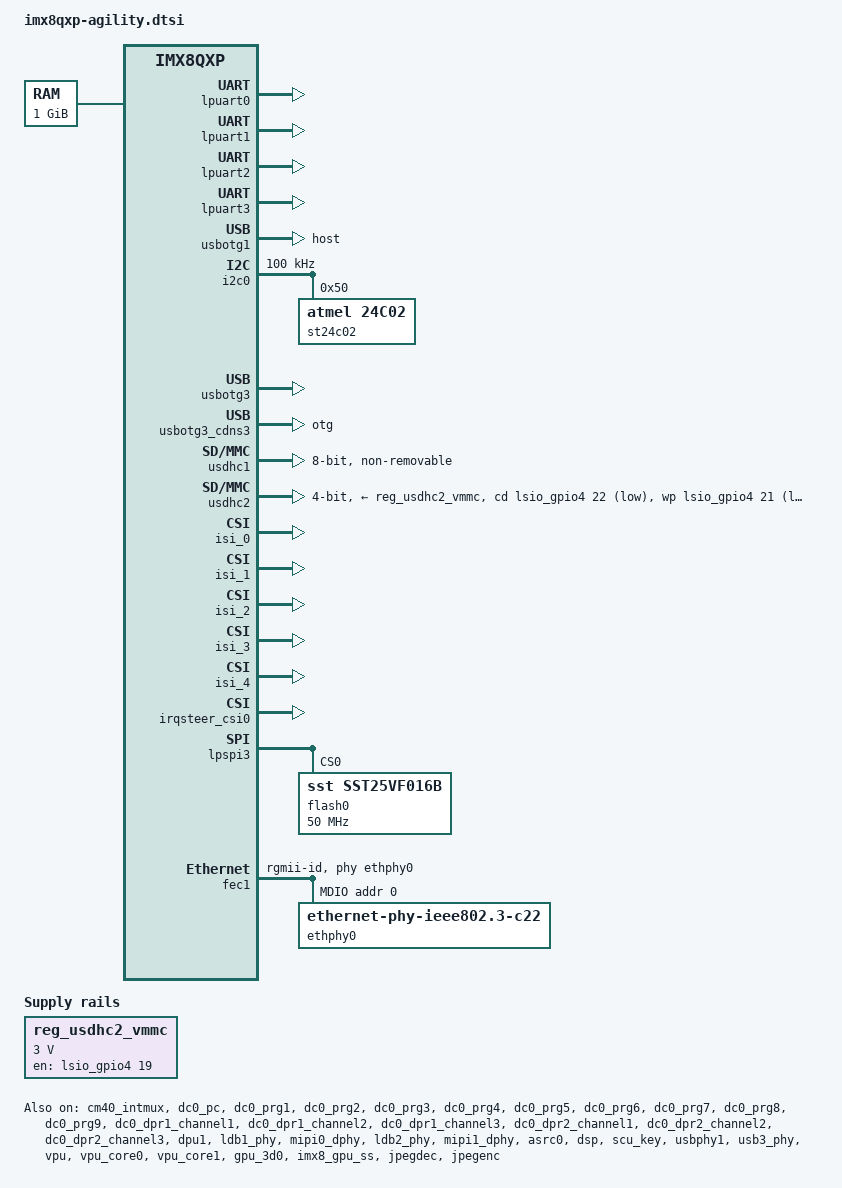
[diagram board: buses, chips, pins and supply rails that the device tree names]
// SPDX-License-Identifier: GPL-2.0+
/*
 * Copyright 2017-2020 NXP
 */

#include <dt-bindings/gpio/gpio.h>
#include <dt-bindings/usb/pd.h>
/ {
	chosen {
		stdout-path = &lpuart0;
	};

	memory@80000000 {
		device_type = "memory";
		reg = <0x00000000 0x80000000 0 0x40000000>;
	};

	reserved-memory {
		#address-cells = <2>;
		#size-cells = <2>;
		ranges;

		gpu_reserved: gpu_reserved@880000000 {
			no-map;
			reg = <0x8 0x80000000 0 0x10000000>;
		};

		decoder_boot: decoder-boot@84000000 {
			reg = <0 0x84000000 0 0x2000000>;
			no-map;
		};

		encoder_boot: encoder-boot@86000000 {
			reg = <0 0x86000000 0 0x200000>;
			no-map;
		};

		decoder_rpc: decoder-rpc@0x92000000 {
			reg = <0 0x92000000 0 0x100000>;
			no-map;
		};

		dsp_reserved: dsp@92400000 {
			reg = <0 0x92400000 0 0x1000000>;
			no-map;
		};
		dsp_reserved_heap: dsp_reserved_heap {
			reg = <0 0x93400000 0 0xef0000>;
			no-map;
		};
		dsp_vdev0vring0: vdev0vring0@942f0000 {
			reg = <0 0x942f0000 0 0x8000>;
			no-map;
		};

		dsp_vdev0vring1: vdev0vring1@942f8000 {
			reg = <0 0x942f8000 0 0x8000>;
			no-map;
		};

		dsp_vdev0buffer: vdev0buffer@94300000 {
			compatible = "shared-dma-pool";
			reg = <0 0x94300000 0 0x100000>;
			no-map;
		};

		encoder_rpc: encoder-rpc@0x94400000 {
			reg = <0 0x94400000 0 0x700000>;
			no-map;
		};
		/* global autoconfigured region for contiguous allocations */
		linux,cma {
			compatible = "shared-dma-pool";
			reusable;
			size = <0 0x3c000000>;
			alloc-ranges = <0 0xc0000000 0 0x3c000000>;
			linux,cma-default;
		};
	};

	reg_usdhc2_vmmc: usdhc2-vmmc {
		compatible = "regulator-fixed";
		regulator-name = "SD1_SPWR";
		regulator-min-microvolt = <3000000>;
		regulator-max-microvolt = <3000000>;
		gpio = <&lsio_gpio4 19 GPIO_ACTIVE_HIGH>;
		off-on-delay-us = <3480>;
		enable-active-high;
	};


	imx8x_cm4: imx8x_cm4@0 {
		compatible = "fsl,imx8qxp-cm4";
		rsc-da = <0x90000000>;
		mbox-names = "tx", "rx", "rxdb";
		mboxes = <&lsio_mu5 0 1
			  &lsio_mu5 1 1
			  &lsio_mu5 3 1>;
		mub-partition = <3>;
		memory-region = <&vdevbuffer>, <&vdev0vring0>, <&vdev0vring1>,
				<&vdev1vring0>, <&vdev1vring1>, <&rsc_table>;
		core-index = <0>;
		core-id = <IMX_SC_R_M4_0_PID0>;
		status = "okay";
		power-domains = <&pd IMX_SC_R_M4_0_PID0>,
				<&pd IMX_SC_R_M4_0_MU_1A>;
	};

	reserved-memory {
		#address-cells = <2>;
		#size-cells = <2>;
		ranges;

		vdev0vring0: vdev0vring0@90000000 {
			reg = <0 0x90000000 0 0x8000>;
			no-map;
		};

		vdev0vring1: vdev0vring1@90008000 {
			reg = <0 0x90008000 0 0x8000>;
			no-map;
		};

		vdev1vring0: vdev1vring0@90010000 {
			reg = <0 0x90010000 0 0x8000>;
			no-map;
		};

		vdev1vring1: vdev1vring1@90018000 {
			reg = <0 0x90018000 0 0x8000>;
			no-map;
		};

		rsc_table: rsc_table@900ff000 {
			reg = <0 0x900ff000 0 0x1000>;
			no-map;
		};

		vdevbuffer: vdevbuffer {
            compatible = "shared-dma-pool";
			reg = <0 0x90400000 0 0x1C00000>;
			no-map;
		};
	};

};

&cm40_intmux {
	status = "okay";
};

&dc0_pc {
	status = "okay";
};

&dc0_prg1 {
	status = "okay";
};

&dc0_prg2 {
	status = "okay";

};

&dc0_prg3 {
	status = "okay";
};

&dc0_prg4 {
	status = "okay";
};

&dc0_prg5 {
	status = "okay";
};

&dc0_prg6 {
	status = "okay";
};

&dc0_prg7 {
	status = "okay";
};

&dc0_prg8 {
	status = "okay";
};

&dc0_prg9 {
	status = "okay";
};

&dc0_dpr1_channel1 {
	status = "okay";
};

&dc0_dpr1_channel2 {
	status = "okay";
};

&dc0_dpr1_channel3 {
	status = "okay";
};

&dc0_dpr2_channel1 {
	status = "okay";
};

&dc0_dpr2_channel2 {
	status = "okay";
};

&dc0_dpr2_channel3 {
	status = "okay";
};

&dpu1 {
	status = "okay";
};

&ldb1_phy {
	status = "okay";
};

&mipi0_dphy {
	status = "okay";
};


&ldb2_phy {
	status = "okay";
};


&mipi1_dphy {
	status = "okay";
};


&amix {
	status = "disabled";
};

&asrc0 {
	fsl,asrc-rate  = <48000>;
	status = "okay";
};

&dsp {
	memory-region = <&dsp_vdev0buffer>, <&dsp_vdev0vring0>,
			<&dsp_vdev0vring1>, <&dsp_reserved>;
	status = "okay";
};

&lpuart0 {
	pinctrl-names = "default";
	pinctrl-0 = <&pinctrl_lpuart0>;
	status = "okay";
};

&lpuart1 {
	pinctrl-names = "default";
	pinctrl-0 = <&pinctrl_lpuart1>;
	status = "okay";
};

&lpuart2 {
	pinctrl-names = "default";
	pinctrl-0 = <&pinctrl_lpuart2>;
	status = "okay";
};

&lpuart3 {
	pinctrl-names = "default";
	pinctrl-0 = <&pinctrl_lpuart3>;
	status = "okay";
};

&scu_key {
	status = "okay";
};

&thermal_zones {
	pmic-thermal0 {
		polling-delay-passive = <250>;
		polling-delay = <2000>;
		thermal-sensors = <&tsens IMX_SC_R_PMIC_0>;

		trips {
			pmic_alert0: trip0 {
				temperature = <110000>;
				hysteresis = <2000>;
				type = "passive";
			};

			pmic_crit0: trip1 {
				temperature = <125000>;
				hysteresis = <2000>;
				type = "critical";
			};
		};

		cooling-maps {
			map0 {
				trip = <&pmic_alert0>;
				cooling-device =
					<&A35_0 THERMAL_NO_LIMIT THERMAL_NO_LIMIT>,
					<&A35_1 THERMAL_NO_LIMIT THERMAL_NO_LIMIT>,
					<&A35_2 THERMAL_NO_LIMIT THERMAL_NO_LIMIT>,
					<&A35_3 THERMAL_NO_LIMIT THERMAL_NO_LIMIT>;
			};
		};
	};
};


&usbphy1 {
	status = "okay";
};

&usb3_phy {
	status = "okay";
};

&usbotg1 {
        dr_mode = "host";
        status = "okay";
};

//added support for EEPROM(M24C02-RMN6TP) 
&i2c0 {
        clock-frequency = <100000>;
        pinctrl-names = "default";
        pinctrl-0 = <&pinctrl_i2c0>;
        #address-cells = <1>;
		#size-cells = <0>;
		status = "okay";
				
        st24c02:eeprom@50 {
                compatible = "atmel,24c02";
                reg = <0x50>;
                pagesize = <16>;
        };		
};

&usbotg3 {
	status = "okay";
};

&usbotg3_cdns3 {
	dr_mode = "otg";
	usb-role-switch;
	status = "okay";
};

&usdhc1 {
	assigned-clocks = <&clk IMX_SC_R_SDHC_0 IMX_SC_PM_CLK_PER>;
	assigned-clock-rates = <400000000>;
	pinctrl-names = "default", "state_100mhz", "state_200mhz" , "state_400mhz";
	pinctrl-0 = <&pinctrl_usdhc1>;
	pinctrl-1 = <&pinctrl_usdhc1>;
	pinctrl-2 = <&pinctrl_usdhc1>;
	bus-width = <8>;
	no-sd;
	no-sdio;
	non-removable;
	status = "okay";
};

&usdhc2 {
	pinctrl-names = "default", "state_100mhz", "state_200mhz";
	pinctrl-0 = <&pinctrl_usdhc2>, <&pinctrl_usdhc2_gpio>;
	pinctrl-1 = <&pinctrl_usdhc2>, <&pinctrl_usdhc2_gpio>;
	pinctrl-2 = <&pinctrl_usdhc2>, <&pinctrl_usdhc2_gpio>;
	bus-width = <4>;
	vmmc-supply = <&reg_usdhc2_vmmc>;
	cd-gpios = <&lsio_gpio4 22 GPIO_ACTIVE_LOW>;
	wp-gpios = <&lsio_gpio4 21 GPIO_ACTIVE_LOW>;
	status = "okay";
};

&vpu {
	compatible = "nxp,imx8qxp-vpu";
	status = "okay";
};

&vpu_core0 {
	reg = <0x2d040000 0x10000>;
	memory-region = <&decoder_boot>, <&decoder_rpc>;
	status = "okay";
};

&vpu_core1 {
	reg = <0x2d050000 0x10000>;
	memory-region = <&encoder_boot>, <&encoder_rpc>;
	status = "okay";
};

&gpu_3d0 {
	status = "okay";
};

&imx8_gpu_ss {
	memory-region=<&gpu_reserved>;
	status = "okay";
};

&isi_0 {
	status = "okay";

	cap_device {
		status = "okay";
	};

	m2m_device {
		status = "okay";
	};
};

&isi_1 {
	status = "okay";

	cap_device {
		status = "okay";
	};
};

&isi_2 {
	status = "okay";

	cap_device {
		status = "okay";
	};
};

&isi_3 {
	status = "okay";

	cap_device {
		status = "okay";
	};
};

&isi_4 {
	interface = <6 0 2>;
	status = "okay";

	cap_device {
		status = "okay";
	};
};

&irqsteer_csi0 {
	status = "okay";
};


&jpegdec {
	status = "okay";
};

&jpegenc {
	status = "okay";
};

&lpspi3 {
	pinctrl-names = "default";
	pinctrl-0 = <&pinctrl_lpspi0>;
	assigned-clock-rates = <120000000>;
	fsl,spi-num-chipselects = <1>;
	cs-gpio = <&lsio_gpio0 16 GPIO_ACTIVE_LOW>;
	status="okay";

	flash0: SST25VF016B@0 {
		status="okay";
		#address-cells = <1>;
		#size-cells = <1>;
		compatible = "sst,sst25vf016b","jedec,spi-nor";
		reg = <0>;
		m25p,fast-read;
		spi-max-frequency = <50000000>;
	};
};

&fec1 {
	pinctrl-names = "default";
	pinctrl-0 = <&pinctrl_fec1>;
	phy-mode = "rgmii-id";

	phy-handle = <&ethphy0>;
	fsl,magic-packet;
	nvmem-cells = <&fec_mac0>;
	nvmem-cell-names = "mac-address";
	rx-internal-delay-ps = <2000>;
	tx-internal-delay-ps = <2000>;
	status = "okay";

	mdio {
		#address-cells = <1>;
		#size-cells = <0>;

		ethphy0: ethernet-phy@2 {
			compatible = "ethernet-phy-ieee802.3-c22";
			reg = <0>;
		};
	};
};

&lsio_gpio0 {
	pinctrl-names = "default";
	pinctrl-0 = <&pinctrl_gpio0>;
	status="okay";
};
&lsio_gpio1 {
        pinctrl-names = "default";
        pinctrl-0 = <&pinctrl_gpio1>;
        status="okay";
};

&lsio_gpio3 {
        pinctrl-names = "default";
        pinctrl-0 = <&pinctrl_gpio3>;
        status="okay";
};

&lsio_gpio4 {
        pinctrl-names = "default";
//        pinctrl-0 = <&pinctrl_gpio4>;
        status="okay";
};
&iomuxc {
	pinctrl-names = "default";
	pinctrl-0 = <&pinctrl_hog>;

	pinctrl_hog: hoggrp {
		fsl,pins = <
			IMX8QXP_MCLK_OUT0_ADMA_ACM_MCLK_OUT0       0x0600004c
			IMX8QXP_COMP_CTL_GPIO_1V8_3V3_GPIORHB_PAD  0x000514a0
		>;
	};


	pinctrl_lpspi0: lpspi0grp {
		fsl,pins = <
			IMX8QXP_SPI3_SCK_ADMA_SPI3_SCK		0x6000040
			IMX8QXP_SPI3_SDO_ADMA_SPI3_SDO		0x6000040
			IMX8QXP_SPI3_SDI_ADMA_SPI3_SDI		0x6000040
			IMX8QXP_SPI3_CS1_ADMA_SPI3_CS1		0x21	
		>;
	};

	pinctrl_gpio0: gpio0grp {
		fsl,pins = <
			IMX8QXP_SPI3_CS0_LSIO_GPIO0_IO16	0x21 
			IMX8QXP_SPDIF0_TX_LSIO_GPIO0_IO11       0x21
            IMX8QXP_SPDIF0_EXT_CLK_LSIO_GPIO0_IO12  0x21 
		>;
	};

	pinctrl_gpio1: gpio1grp {
        fsl,pins = <
                IMX8QXP_ADC_IN0_LSIO_GPIO1_IO10         0x21
                IMX8QXP_ADC_IN1_LSIO_GPIO1_IO09         0x21
                IMX8QXP_ADC_IN4_LSIO_GPIO1_IO14         0x21
                IMX8QXP_ADC_IN5_LSIO_GPIO1_IO13         0x21 
			>;
    };

	pinctrl_gpio3: gpio3grp {
        fsl,pins = <
                IMX8QXP_QSPI0B_SCLK_LSIO_GPIO3_IO17     0x21
                IMX8QXP_QSPI0B_DATA0_LSIO_GPIO3_IO18    0x21
                IMX8QXP_QSPI0B_DATA1_LSIO_GPIO3_IO19    0x21
                IMX8QXP_QSPI0B_DATA2_LSIO_GPIO3_IO20    0x21
                IMX8QXP_QSPI0B_DATA3_LSIO_GPIO3_IO21    0x21
			>;
    };

	pinctrl_lpuart0: lpuart0grp {
		fsl,pins = <
			IMX8QXP_UART0_RX_ADMA_UART0_RX				0x06000020
			IMX8QXP_UART0_TX_ADMA_UART0_TX				0x06000020
		>;
	};

	pinctrl_lpuart1: lpuart1grp {
		fsl,pins = <
			IMX8QXP_UART1_TX_ADMA_UART1_TX		0x06000020
			IMX8QXP_UART1_RX_ADMA_UART1_RX		0x06000020
			IMX8QXP_UART1_RTS_B_ADMA_UART1_RTS_B	0x06000020
			IMX8QXP_UART1_CTS_B_ADMA_UART1_CTS_B	0x06000020
		>;
	};

	pinctrl_lpuart2: lpuart2grp {
		fsl,pins = <
			IMX8QXP_UART2_TX_ADMA_UART2_TX		0x06000020
			IMX8QXP_UART2_RX_ADMA_UART2_RX		0x06000020
		>;
	};

	pinctrl_lpuart3: lpuart3grp {
		fsl,pins = <
			IMX8QXP_FLEXCAN2_TX_ADMA_UART3_TX	0x06000020
			IMX8QXP_FLEXCAN2_RX_ADMA_UART3_RX	0x06000020
		>;
	};

	pinctrl_usdhc1: usdhc1grp {
		fsl,pins = <
			IMX8QXP_EMMC0_CLK_CONN_EMMC0_CLK			0x06000041
			IMX8QXP_EMMC0_CMD_CONN_EMMC0_CMD			0x00000021
			IMX8QXP_EMMC0_DATA0_CONN_EMMC0_DATA0			0x00000021
			IMX8QXP_EMMC0_DATA1_CONN_EMMC0_DATA1			0x00000021
			IMX8QXP_EMMC0_DATA2_CONN_EMMC0_DATA2			0x00000021
			IMX8QXP_EMMC0_DATA3_CONN_EMMC0_DATA3			0x00000021
			IMX8QXP_EMMC0_DATA4_CONN_EMMC0_DATA4			0x00000021
			IMX8QXP_EMMC0_DATA5_CONN_EMMC0_DATA5			0x00000021
			IMX8QXP_EMMC0_DATA6_CONN_EMMC0_DATA6			0x00000021
			IMX8QXP_EMMC0_DATA7_CONN_EMMC0_DATA7			0x00000021
			IMX8QXP_EMMC0_STROBE_CONN_EMMC0_STROBE			0x00000041
		>;
	};

	pinctrl_usdhc2_gpio: usdhc2gpiogrp {
		fsl,pins = <
			IMX8QXP_USDHC1_RESET_B_LSIO_GPIO4_IO19     0x00000021
			IMX8QXP_USDHC1_WP_LSIO_GPIO4_IO21          0x00000021
			IMX8QXP_USDHC1_CD_B_LSIO_GPIO4_IO22        0x00000021
		>;
	};


	pinctrl_usdhc2: usdhc2grp {
		fsl,pins = <
			IMX8QXP_USDHC1_CLK_CONN_USDHC1_CLK			0x06000041
			IMX8QXP_USDHC1_CMD_CONN_USDHC1_CMD			0x00000021
			IMX8QXP_USDHC1_DATA0_CONN_USDHC1_DATA0			0x00000021
			IMX8QXP_USDHC1_DATA1_CONN_USDHC1_DATA1			0x00000021
			IMX8QXP_USDHC1_DATA2_CONN_USDHC1_DATA2			0x00000021
			IMX8QXP_USDHC1_DATA3_CONN_USDHC1_DATA3			0x00000021
			IMX8QXP_USDHC1_VSELECT_CONN_USDHC1_VSELECT		0x00000021
		>;
	};
	
	pinctrl_fec1: fec1grp {
		fsl,pins = <
			IMX8QXP_COMP_CTL_GPIO_1V8_3V3_ENET_ENETB0_PAD		0x000014a0
			IMX8QXP_COMP_CTL_GPIO_1V8_3V3_ENET_ENETB1_PAD		0x000014a0
			IMX8QXP_ENET0_MDC_CONN_ENET0_MDC			0x06000020
			IMX8QXP_ENET0_MDIO_CONN_ENET0_MDIO			0x06000020
			IMX8QXP_ENET0_RGMII_TX_CTL_CONN_ENET0_RGMII_TX_CTL	0x61
			IMX8QXP_ENET0_RGMII_TXC_CONN_ENET0_RGMII_TXC		0x61
			IMX8QXP_ENET0_RGMII_TXD0_CONN_ENET0_RGMII_TXD0		0x61
			IMX8QXP_ENET0_RGMII_TXD1_CONN_ENET0_RGMII_TXD1		0x61
			IMX8QXP_ENET0_RGMII_TXD2_CONN_ENET0_RGMII_TXD2		0x61
			IMX8QXP_ENET0_RGMII_TXD3_CONN_ENET0_RGMII_TXD3		0x61
			IMX8QXP_ENET0_RGMII_RXC_CONN_ENET0_RGMII_RXC		0x61
			IMX8QXP_ENET0_RGMII_RX_CTL_CONN_ENET0_RGMII_RX_CTL	0x61
			IMX8QXP_ENET0_RGMII_RXD0_CONN_ENET0_RGMII_RXD0		0x61
			IMX8QXP_ENET0_RGMII_RXD1_CONN_ENET0_RGMII_RXD1		0x61
			IMX8QXP_ENET0_RGMII_RXD2_CONN_ENET0_RGMII_RXD2		0x61
			IMX8QXP_ENET0_RGMII_RXD3_CONN_ENET0_RGMII_RXD3		0x61
		>;
	};

	pinctrl_i2c0: i2c0grp {
		fsl,pins = <
			IMX8QXP_MIPI_CSI0_GPIO0_00_ADMA_I2C0_SCL	0x06000021
			IMX8QXP_MIPI_CSI0_GPIO0_01_ADMA_I2C0_SDA	0x06000021
		>;
	};


};
